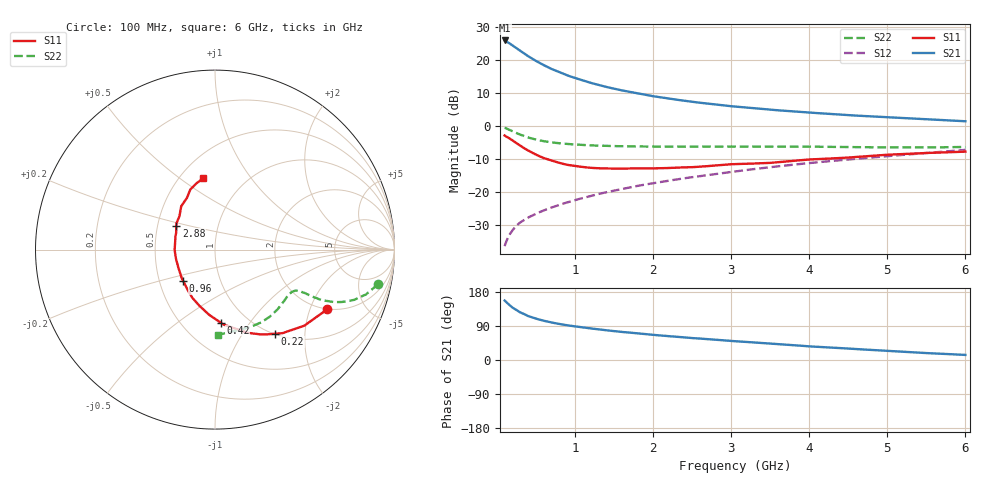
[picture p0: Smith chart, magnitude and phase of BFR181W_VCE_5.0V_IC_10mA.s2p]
! Infineon Technologies  Discrete & RF Semiconductors
! BFR181W
! VCE =  5.0 V,  IC =  10 mA
! Common Emitter S-Parameters:  Nov 2015
# GHz  S  MA  R  50
!  f  S11  S21  S12  S22
! GHz  MAG  ANG  MAG  ANG  MAG  ANG  MAG  ANG
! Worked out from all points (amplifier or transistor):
!   192 points, 100 MHz to 6 GHz, reference 50 ohm
!   highest |S21| = 25.8 dB at 100 MHz (marker M1)
!   |S21| within 3 dB of that: start of sweep to 290.8 MHz
!   unconditionally stable (mu >= 1): 1.114 GHz to 2.917 GHz
!   at 440 MHz: K = 0.69, MSG = 23.9 dB, |S12| = -27.4 dB
!   at 1.7 GHz: K = 1.05, MAG = 13.1 dB, |S12| = -18.7 dB
!   at 6 GHz: K = 0.79, MSG = 4.3 dB, |S12| = -7.4 dB
!   S11 on the Smith chart (normalised r, x): 100 MHz: 1.98, -2.64; 220 MHz: 1.01, -1.41; 420 MHz: 0.76, -0.74; 960 MHz: 0.66, -0.24; 2.88 GHz: 0.63, +0.18; 6 GHz: 0.65, +0.62
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0.1  0.7078 -28.1  19.48 156.9  0.0149 76.3  0.9291 -12.0
0.15  0.6538 -40.4  18.02 147.0  0.021 72.4  0.877 -16.6
0.2  0.5989 -51.0  16.46 138.5  0.0258 68.5  0.8233 -19.9
0.22  0.5751 -54.6  15.83 135.9  0.0276 67.5  0.8025 -20.8
0.26  0.534 -62.1  14.66 130.4  0.0311 65.8  0.7631 -22.5
0.3  0.4974 -68.7  13.54 125.6  0.0341 64.6  0.7287 -23.7
0.4  0.4203 -83.5  11.28 116.0  0.0403 63.2  0.66 -25.3
0.42  0.4078 -85.6  10.92 114.8  0.0415 63.2  0.6506 -25.4
0.5  0.3641 -95.3  9.559 109.1  0.0461 63.3  0.6128 -25.7
0.6  0.3228 -106.1  8.249 103.6  0.0518 63.6  0.5796 -25.8
0.7  0.2967 -115.2  7.215 98.9  0.0573 64.6  0.5566 -25.8
0.8  0.2726 -123.7  6.43 95.0  0.0628 65.5  0.5394 -26.0
0.96  0.2486 -135.7  5.463 89.9  0.0719 66.4  0.521 -26.2
1.1  0.2359 -144.8  4.847 86.2  0.08 67.2  0.5094 -26.7
1.2  0.2294 -151.4  4.444 83.3  0.0859 67.6  0.5016 -27.1
1.5  0.2233 -167.4  3.62 76.2  0.1034 68.6  0.4889 -28.9
2.08  0.2256 170.1  2.696 65.1  0.1386 69.2  0.4797 -33.7
2.88  0.2527 148.5  2.04 52.3  0.1903 68.0  0.481 -42.4
3.1  0.2617 144.0  1.919 49.0  0.2054 67.4  0.4816 -45.2
4.1  0.31 125.9  1.547 34.9  0.2776 63.3  0.4783 -59.3
5.1  0.3658 110.9  1.321 22.8  0.3517 58.2  0.467 -74.4
6  0.403 99.2  1.163 13.4  0.4285 53.1  0.4745 -87.7
